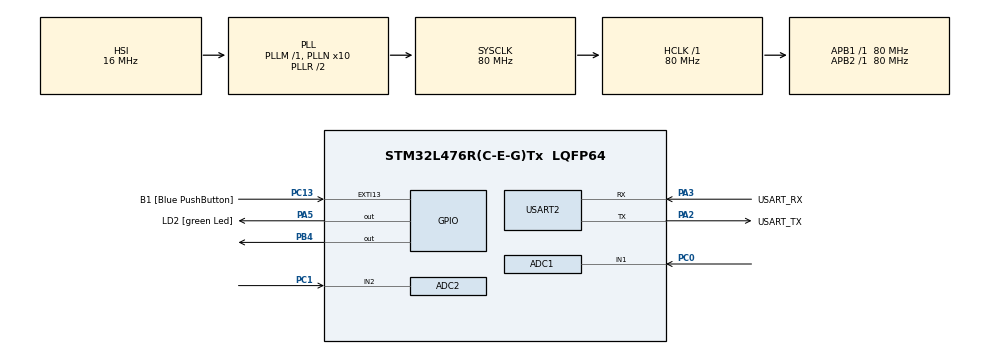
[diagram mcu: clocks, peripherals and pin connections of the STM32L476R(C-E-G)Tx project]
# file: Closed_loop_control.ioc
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ADC1.Channel-0\#ChannelRegularConversion=ADC_CHANNEL_1
ADC1.NbrOfConversionFlag=1
ADC1.OffsetNumber-0\#ChannelRegularConversion=ADC_OFFSET_NONE
ADC1.Rank-0\#ChannelRegularConversion=1
ADC1.SamplingTime-0\#ChannelRegularConversion=ADC_SAMPLETIME_2CYCLES_5
ADC1.master=1
ADC2.Channel-0\#ChannelRegularConversion=ADC_CHANNEL_2
ADC2.NbrOfConversionFlag=1
ADC2.OffsetNumber-0\#ChannelRegularConversion=ADC_OFFSET_NONE
ADC2.Rank-0\#ChannelRegularConversion=1
ADC2.SamplingTime-0\#ChannelRegularConversion=ADC_SAMPLETIME_2CYCLES_5
Dma.Request0=USART2_RX
Dma.Request1=USART2_TX
Dma.USART2_RX.0.Direction=DMA_PERIPH_TO_MEMORY
Dma.USART2_RX.0.Instance=DMA1_Channel6
Dma.USART2_RX.0.MemDataAlignment=DMA_MDATAALIGN_BYTE
Dma.USART2_RX.0.MemInc=DMA_MINC_ENABLE
Dma.USART2_RX.0.Mode=DMA_NORMAL
Dma.USART2_RX.0.PeriphDataAlignment=DMA_PDATAALIGN_BYTE
Dma.USART2_RX.0.PeriphInc=DMA_PINC_DISABLE
Dma.USART2_RX.0.Priority=DMA_PRIORITY_LOW
Dma.USART2_TX.1.Direction=DMA_MEMORY_TO_PERIPH
Dma.USART2_TX.1.Instance=DMA1_Channel7
Dma.USART2_TX.1.MemDataAlignment=DMA_MDATAALIGN_BYTE
Dma.USART2_TX.1.MemInc=DMA_MINC_ENABLE
Dma.USART2_TX.1.Mode=DMA_NORMAL
Dma.USART2_TX.1.PeriphDataAlignment=DMA_PDATAALIGN_BYTE
Dma.USART2_TX.1.PeriphInc=DMA_PINC_DISABLE
Dma.USART2_TX.1.Priority=DMA_PRIORITY_LOW
Mcu.Family=STM32L4
Mcu.Name=STM32L476R(C-E-G)Tx
Mcu.Package=LQFP64
NVIC.ADC1_2_IRQn=true\:0\:0\:false\:false\:true\:true\:true\:true
NVIC.DMA1_Channel6_IRQn=true\:0\:0\:false\:false\:true\:false\:true\:true
NVIC.DMA1_Channel7_IRQn=true\:0\:0\:false\:false\:true\:false\:true\:true
NVIC.PriorityGroup=NVIC_PRIORITYGROUP_4
NVIC.USART2_IRQn=true\:0\:0\:false\:false\:true\:true\:true\:true
PA13\ (JTMS-SWDIO).GPIO_Label=TMS
PA13\ (JTMS-SWDIO).Mode=Serial_Wire
PA13\ (JTMS-SWDIO).Signal=SYS_JTMS-SWDIO
PA14\ (JTCK-SWCLK).GPIO_Label=TCK
PA14\ (JTCK-SWCLK).Mode=Serial_Wire
PA14\ (JTCK-SWCLK).Signal=SYS_JTCK-SWCLK
PA2.GPIO_Label=USART_TX
PA2.GPIO_Mode=GPIO_MODE_AF_PP
PA2.GPIO_PuPd=GPIO_NOPULL
PA2.GPIO_Speed=GPIO_SPEED_FREQ_VERY_HIGH
PA2.Mode=Asynchronous
PA2.Signal=USART2_TX
PA3.GPIO_Label=USART_RX
PA3.GPIO_Mode=GPIO_MODE_AF_PP
PA3.GPIO_PuPd=GPIO_NOPULL
PA3.GPIO_Speed=GPIO_SPEED_FREQ_VERY_HIGH
PA3.Mode=Asynchronous
PA3.Signal=USART2_RX
PA5.GPIO_Label=LD2 [green Led]
PA5.GPIO_ModeDefaultOutputPP=GPIO_MODE_OUTPUT_PP
PA5.GPIO_PuPd=GPIO_NOPULL
PA5.GPIO_Speed=GPIO_SPEED_FREQ_LOW
PA5.Signal=GPIO_Output
PB3\ (JTDO-TRACESWO).GPIO_Label=SWO
PB3\ (JTDO-TRACESWO).Signal=SYS_JTDO-SWO
PB4\ (NJTRST).Signal=GPIO_Output
PC0.Signal=ADCx_IN1
PC1.Signal=ADCx_IN2
PC13.GPIO_Label=B1 [Blue PushButton]
PC13.GPIO_ModeDefaultEXTI=GPIO_MODE_IT_FALLING
PC13.GPIO_PuPd=GPIO_NOPULL
PC13.Signal=GPXTI13
PC14-OSC32_IN\ (PC14).Mode=LSE-External-Oscillator
PC14-OSC32_IN\ (PC14).Signal=RCC_OSC32_IN
PC15-OSC32_OUT\ (PC15).Mode=LSE-External-Oscillator
PC15-OSC32_OUT\ (PC15).Signal=RCC_OSC32_OUT
PH0-OSC_IN\ (PH0).Signal=RCC_OSC_IN
PH1-OSC_OUT\ (PH1).Signal=RCC_OSC_OUT
ProjectManager.HeapSize=0x200
ProjectManager.StackSize=0x400
ProjectManager.TargetToolchain=STM32CubeIDE
RCC.ADCFreq_Value=64000000
RCC.AHBFreq_Value=80000000
RCC.APB1Freq_Value=80000000
RCC.APB1TimFreq_Value=80000000
RCC.APB2Freq_Value=80000000
RCC.APB2TimFreq_Value=80000000
RCC.CortexFreq_Value=80000000
RCC.HCLKFreq_Value=80000000
RCC.HSE_VALUE=8000000
RCC.HSI_VALUE=16000000
RCC.MSI_VALUE=4000000
RCC.PLLN=10
RCC.PLLSourceVirtual=RCC_PLLSOURCE_HSI
RCC.PREFETCH_ENABLE=1
RCC.SYSCLKFreq_VALUE=80000000
RCC.SYSCLKSource=RCC_SYSCLKSOURCE_PLLCLK
RCC.USBFreq_Value=64000000
RCC.VCOOutputFreq_Value=160000000
SH.ADCx_IN1.0=ADC1_IN1,IN1-Single-Ended
SH.ADCx_IN2.0=ADC2_IN2,IN2-Single-Ended
USART2.VirtualMode-Asynchronous=VM_ASYNC
USART2.WordLength=WORDLENGTH_8B
board=NUCLEO-L476RG

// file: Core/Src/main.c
/* USER CODE BEGIN Header */
/**
  ******************************************************************************
  * @file           : main.c
  * @brief          : Main program body
  ******************************************************************************
  * @attention
  *
  * Copyright (c) 2023 STMicroelectronics.
  * All rights reserved.
  *
  * This software is licensed under terms that can be found in the LICENSE file
  * in the root directory of this software component.
  * If no LICENSE file comes with this software, it is provided AS-IS.
  *
  ******************************************************************************
  */
/* USER CODE END Header */
#include "main.h"

/* USER CODE BEGIN Includes */
#include <stdio.h>
#include <stdint.h>
#include <math.h>
/* USER CODE END Includes */

/* USER CODE BEGIN PD */

// Size UART messages

#define pi 3.14159

#define UART_RX_BUFFER_SIZE 16
#define UART_TX_BUFFER_SIZE 12

// Everything is given in SI base units

// Vehicle constants
#define WheelRadiusUnloaded 0.28
#define WheelRadiusLoaded 0.28		// The simulation doesn't distinguish between unloaded, loaded and effective radius
#define WheelRadiusEffective ((2*WheelRadiusUnloaded + WheelRadiusLoaded) / 3)

#define WheelBase 2.0
#define TrackWidth 1.0
#define GearRatio 7.0

// Limits on positive (accelerating) torque, parametrized by a limit on torque and another limit on power
#define MaxMotorTorque 2000 // For low angular velocity. Enter value in Nm
#define MaxMotorPower 3000 // For higher angular velocity. Enter value in W (note that this should be the effective power, not the electrical power going in)
#define AngVelThresholdAcc (MaxMotorPower / MaxMotorTorque) // Use first limit when below threshold and second limit when above

// Limits on negative (braking) torque. Don't know if this also depends on angular velocity, and can be parametrized the same way as the maximum positive? Someone plz HALP!
#define MaxBrakingTorque 300
#define MaxBrakingPower 450
#define AngVelThresholdBrake (MaxBrakingPower / MaxBrakingTorque)

// Yaw rate PI controller constants
#define Kp 700
#define Ki 180

// Anti-spin feature constants
#define A_lambda 0.06
#define B_lambda 20.0

// Misc constants
#define Ts 0.01 // Sampling time
#define MaxCMTorqueFraction 0.8 // Fraction of the maximum available torque to be used for common mode when at full throttle
#define MinVelLong 0.05 // Minimum longitudinal velocity to trigger anti-slip system. Avoids division by zero
/* USER CODE END PD */

ADC_HandleTypeDef hadc1;
ADC_HandleTypeDef hadc2;

UART_HandleTypeDef huart2;
DMA_HandleTypeDef hdma_usart2_rx;
DMA_HandleTypeDef hdma_usart2_tx;

void SystemClock_Config(void);
void PeriphCommonClock_Config(void);
static void MX_GPIO_Init(void);
static void MX_DMA_Init(void);
static void MX_USART2_UART_Init(void);
static void MX_ADC1_Init(void);
static void MX_ADC2_Init(void);
/* USER CODE BEGIN PFP */
void SIM_set_torques(uint8_t *Tx_data, float torqueLeft, float torqueRight);
void SIM_set_steering_angle(uint8_t *Tx_data, float steeringAngle);

void getMotorTorqueLimits();
void yawRateController();
void torqueVectoring();
void antiSpin();
void calculateMotorTorqueRef();

/* USER CODE END PFP */

/* USER CODE BEGIN 0 */

uint8_t UART_Rx_data[UART_RX_BUFFER_SIZE]; // UART receive data buffer.
uint8_t UART_Tx_data[UART_TX_BUFFER_SIZE]; // UART transive data buffer.

uint32_t adc1_value; // Values from potentiometer controlling the torque.
uint8_t adc1_valid = 0;
uint32_t adc2_value; // Values from potentiometer controlling the steering angle.
uint8_t adc2_valid = 0;

// Global variables (ikr...)

// Outputs from the FMU or sensors
float velLong = 0;
float steerAngleMeas = 0;
float yawRate = 0;
// The FMU outputs the angular velocities of the wheels, but for a practical test we would probably read it from the motors
float angVelMotorLeft = 0;
float angVelMotorRight = 0;
float angVelWheelLeft = 0;
float angVelWheelRight = 0;

float accInput = 0; // Accelerator input (Here I'm assuming a value between 0 and 1)

// Variables for the Yaw rate PI controller
float yawTorqueRef = 0;
float previousYawTorqueRef = 0;
float previousError = 0;
float torqueCM = 0;

// Outputs from the TV controller
float motorTorqueLeftRef = 0;
float motorTorqueRightRef = 0;

// Available motor torque limits
float maxMotorTorqueLeft = 2000;
float maxMotorTorqueRight = 2000;
float minMotorTorqueLeft = 0;
float minMotorTorqueRight = 0;

/*
 * HAL_UART_RxCpltCallback
 *
 * @brief Receives data from UART via interrupt.
 *
 * @param huart	UART Handle.
 * @retval none
 */
void HAL_UART_RxCpltCallback(UART_HandleTypeDef *huart)
{
	HAL_UART_Receive_IT(&huart2, UART_Rx_data, UART_RX_BUFFER_SIZE);
	HAL_UART_Transmit_IT(&huart2, UART_Tx_data, sizeof(UART_Tx_data));
}

void HAL_UART_TxCpltCallback(UART_HandleTypeDef *huart) {}

void HAL_ADC_ConvCpltCallback(ADC_HandleTypeDef *hadc)
{
	if (hadc == &hadc1)
	{
		adc1_value = HAL_ADC_GetValue(&hadc1);
		adc1_valid = 1;
	}

	if (hadc == &hadc2)
	{
		adc2_value = HAL_ADC_GetValue(&hadc2);
		adc2_valid = 1	;
	}
}
/* USER CODE END 0 */

int main(void)
{

  /* MCU Configuration--------------------------------------------------------*/

  /* Reset of all peripherals, Initializes the Flash interface and the Systick. */
  HAL_Init();

  /* Configure the system clock */
  SystemClock_Config();

/* Configure the peripherals common clocks */
  PeriphCommonClock_Config();

  /* Initialize all configured peripherals */
  MX_GPIO_Init();
  MX_DMA_Init();
  MX_USART2_UART_Init();
  MX_ADC1_Init();
  MX_ADC2_Init();
  /* USER CODE BEGIN 2 */
  float throttle;
  float const throttleMax = 1;
  float const throttleMin = 0.001;

  float const steeringAngleMax = pi/6;
  float const steeringAngleMin = -pi/6;

  HAL_UART_Receive_IT(&huart2, UART_Rx_data, UART_RX_BUFFER_SIZE);
  HAL_UART_Transmit_IT(&huart2, UART_Tx_data, sizeof(UART_Tx_data));
  HAL_ADC_Start_IT(&hadc1);
  HAL_ADC_Start_IT(&hadc2);

  /* USER CODE END 2 */

  /* Infinite loop */
  /* USER CODE BEGIN WHILE */
  while (1)
  {
	  if (adc1_valid == 1)
	  {
		  throttle = (float) adc1_value * (throttleMax - throttleMin)/4095 + throttleMin;
		  adc1_valid = 0;
		  HAL_ADC_Start_IT(&hadc1);
	  }

	  if (adc2_valid == 1)
	  {
		  steerAngleMeas = (float) adc2_value*(steeringAngleMax - steeringAngleMin)/4095 + steeringAngleMin;
		  SIM_set_steering_angle(UART_Tx_data, steerAngleMeas);

		  adc2_valid = 0;
		  HAL_ADC_Start_IT(&hadc2);

	  }

	  calculateMotorTorqueRef();
	  SIM_set_torques(UART_Tx_data, motorTorqueLeftRef, motorTorqueRightRef);

	  HAL_GPIO_TogglePin(GPIOB, GPIO_PIN_4);
	  HAL_Delay(10);
    /* USER CODE END WHILE */

  }
}

void SystemClock_Config(void)
{
  RCC_OscInitTypeDef RCC_OscInitStruct = {0};
  RCC_ClkInitTypeDef RCC_ClkInitStruct = {0};

  /** Configure the main internal regulator output voltage
  */
  if (HAL_PWREx_ControlVoltageScaling(PWR_REGULATOR_VOLTAGE_SCALE1) != HAL_OK)
  {
    Error_Handler();
  }

  /** Initializes the RCC Oscillators according to the specified parameters
  * in the RCC_OscInitTypeDef structure.
  */
  RCC_OscInitStruct.OscillatorType = RCC_OSCILLATORTYPE_HSI;
  RCC_OscInitStruct.HSIState = RCC_HSI_ON;
  RCC_OscInitStruct.HSICalibrationValue = RCC_HSICALIBRATION_DEFAULT;
  RCC_OscInitStruct.PLL.PLLState = RCC_PLL_ON;
  RCC_OscInitStruct.PLL.PLLSource = RCC_PLLSOURCE_HSI;
  RCC_OscInitStruct.PLL.PLLM = 1;
  RCC_OscInitStruct.PLL.PLLN = 10;
  RCC_OscInitStruct.PLL.PLLP = RCC_PLLP_DIV7;
  RCC_OscInitStruct.PLL.PLLQ = RCC_PLLQ_DIV2;
  RCC_OscInitStruct.PLL.PLLR = RCC_PLLR_DIV2;
  if (HAL_RCC_OscConfig(&RCC_OscInitStruct) != HAL_OK)
  {
    Error_Handler();
  }

  /** Initializes the CPU, AHB and APB buses clocks
  */
  RCC_ClkInitStruct.ClockType = RCC_CLOCKTYPE_HCLK|RCC_CLOCKTYPE_SYSCLK
                              |RCC_CLOCKTYPE_PCLK1|RCC_CLOCKTYPE_PCLK2;
  RCC_ClkInitStruct.SYSCLKSource = RCC_SYSCLKSOURCE_PLLCLK;
  RCC_ClkInitStruct.AHBCLKDivider = RCC_SYSCLK_DIV1;
  RCC_ClkInitStruct.APB1CLKDivider = RCC_HCLK_DIV1;
  RCC_ClkInitStruct.APB2CLKDivider = RCC_HCLK_DIV1;

  if (HAL_RCC_ClockConfig(&RCC_ClkInitStruct, FLASH_LATENCY_4) != HAL_OK)
  {
    Error_Handler();
  }
}

void PeriphCommonClock_Config(void)
{
  RCC_PeriphCLKInitTypeDef PeriphClkInit = {0};

  /** Initializes the peripherals clock
  */
  PeriphClkInit.PeriphClockSelection = RCC_PERIPHCLK_ADC;
  PeriphClkInit.AdcClockSelection = RCC_ADCCLKSOURCE_PLLSAI1;
  PeriphClkInit.PLLSAI1.PLLSAI1Source = RCC_PLLSOURCE_HSI;
  PeriphClkInit.PLLSAI1.PLLSAI1M = 1;
  PeriphClkInit.PLLSAI1.PLLSAI1N = 8;
  PeriphClkInit.PLLSAI1.PLLSAI1P = RCC_PLLP_DIV7;
  PeriphClkInit.PLLSAI1.PLLSAI1Q = RCC_PLLQ_DIV2;
  PeriphClkInit.PLLSAI1.PLLSAI1R = RCC_PLLR_DIV2;
  PeriphClkInit.PLLSAI1.PLLSAI1ClockOut = RCC_PLLSAI1_ADC1CLK;
  if (HAL_RCCEx_PeriphCLKConfig(&PeriphClkInit) != HAL_OK)
  {
    Error_Handler();
  }
}

static void MX_ADC1_Init(void)
{

  ADC_MultiModeTypeDef multimode = {0};
  ADC_ChannelConfTypeDef sConfig = {0};

  /** Common config
  */
  hadc1.Instance = ADC1;
  hadc1.Init.ClockPrescaler = ADC_CLOCK_ASYNC_DIV1;
  hadc1.Init.Resolution = ADC_RESOLUTION_12B;
  hadc1.Init.DataAlign = ADC_DATAALIGN_RIGHT;
  hadc1.Init.ScanConvMode = ADC_SCAN_DISABLE;
  hadc1.Init.EOCSelection = ADC_EOC_SINGLE_CONV;
  hadc1.Init.LowPowerAutoWait = DISABLE;
  hadc1.Init.ContinuousConvMode = DISABLE;
  hadc1.Init.NbrOfConversion = 1;
  hadc1.Init.DiscontinuousConvMode = DISABLE;
  hadc1.Init.ExternalTrigConv = ADC_SOFTWARE_START;
  hadc1.Init.ExternalTrigConvEdge = ADC_EXTERNALTRIGCONVEDGE_NONE;
  hadc1.Init.DMAContinuousRequests = DISABLE;
  hadc1.Init.Overrun = ADC_OVR_DATA_PRESERVED;
  hadc1.Init.OversamplingMode = DISABLE;
  if (HAL_ADC_Init(&hadc1) != HAL_OK)
  {
    Error_Handler();
  }

  /** Configure the ADC multi-mode
  */
  multimode.Mode = ADC_MODE_INDEPENDENT;
  if (HAL_ADCEx_MultiModeConfigChannel(&hadc1, &multimode) != HAL_OK)
  {
    Error_Handler();
  }

  /** Configure Regular Channel
  */
  sConfig.Channel = ADC_CHANNEL_1;
  sConfig.Rank = ADC_REGULAR_RANK_1;
  sConfig.SamplingTime = ADC_SAMPLETIME_2CYCLES_5;
  sConfig.SingleDiff = ADC_SINGLE_ENDED;
  sConfig.OffsetNumber = ADC_OFFSET_NONE;
  sConfig.Offset = 0;
  if (HAL_ADC_ConfigChannel(&hadc1, &sConfig) != HAL_OK)
  {
    Error_Handler();
  }

}

static void MX_ADC2_Init(void)
{

  ADC_ChannelConfTypeDef sConfig = {0};

  /** Common config
  */
  hadc2.Instance = ADC2;
  hadc2.Init.ClockPrescaler = ADC_CLOCK_ASYNC_DIV1;
  hadc2.Init.Resolution = ADC_RESOLUTION_12B;
  hadc2.Init.DataAlign = ADC_DATAALIGN_RIGHT;
  hadc2.Init.ScanConvMode = ADC_SCAN_DISABLE;
  hadc2.Init.EOCSelection = ADC_EOC_SINGLE_CONV;
  hadc2.Init.LowPowerAutoWait = DISABLE;
  hadc2.Init.ContinuousConvMode = DISABLE;
  hadc2.Init.NbrOfConversion = 1;
  hadc2.Init.DiscontinuousConvMode = DISABLE;
  hadc2.Init.ExternalTrigConv = ADC_SOFTWARE_START;
  hadc2.Init.ExternalTrigConvEdge = ADC_EXTERNALTRIGCONVEDGE_NONE;
  hadc2.Init.DMAContinuousRequests = DISABLE;
  hadc2.Init.Overrun = ADC_OVR_DATA_PRESERVED;
  hadc2.Init.OversamplingMode = DISABLE;
  if (HAL_ADC_Init(&hadc2) != HAL_OK)
  {
    Error_Handler();
  }

  /** Configure Regular Channel
  */
  sConfig.Channel = ADC_CHANNEL_2;
  sConfig.Rank = ADC_REGULAR_RANK_1;
  sConfig.SamplingTime = ADC_SAMPLETIME_2CYCLES_5;
  sConfig.SingleDiff = ADC_SINGLE_ENDED;
  sConfig.OffsetNumber = ADC_OFFSET_NONE;
  sConfig.Offset = 0;
  if (HAL_ADC_ConfigChannel(&hadc2, &sConfig) != HAL_OK)
  {
    Error_Handler();
  }

}

static void MX_USART2_UART_Init(void)
{

  huart2.Instance = USART2;
  huart2.Init.BaudRate = 115200;
  huart2.Init.WordLength = UART_WORDLENGTH_8B;
  huart2.Init.StopBits = UART_STOPBITS_1;
  huart2.Init.Parity = UART_PARITY_NONE;
  huart2.Init.Mode = UART_MODE_TX_RX;
  huart2.Init.HwFlowCtl = UART_HWCONTROL_NONE;
  huart2.Init.OverSampling = UART_OVERSAMPLING_16;
  huart2.Init.OneBitSampling = UART_ONE_BIT_SAMPLE_DISABLE;
  huart2.AdvancedInit.AdvFeatureInit = UART_ADVFEATURE_NO_INIT;
  if (HAL_UART_Init(&huart2) != HAL_OK)
  {
    Error_Handler();
  }

}

static void MX_DMA_Init(void)
{

  /* DMA controller clock enable */
  __HAL_RCC_DMA1_CLK_ENABLE();

  /* DMA interrupt init */
  /* DMA1_Channel6_IRQn interrupt configuration */
  HAL_NVIC_SetPriority(DMA1_Channel6_IRQn, 0, 0);
  HAL_NVIC_EnableIRQ(DMA1_Channel6_IRQn);
  /* DMA1_Channel7_IRQn interrupt configuration */
  HAL_NVIC_SetPriority(DMA1_Channel7_IRQn, 0, 0);
  HAL_NVIC_EnableIRQ(DMA1_Channel7_IRQn);

}

static void MX_GPIO_Init(void)
{
  GPIO_InitTypeDef GPIO_InitStruct = {0};

  /* GPIO Ports Clock Enable */
  __HAL_RCC_GPIOC_CLK_ENABLE();
  __HAL_RCC_GPIOH_CLK_ENABLE();
  __HAL_RCC_GPIOA_CLK_ENABLE();
  __HAL_RCC_GPIOB_CLK_ENABLE();

  /*Configure GPIO pin Output Level */
  HAL_GPIO_WritePin(LD2_GPIO_Port, LD2_Pin, GPIO_PIN_RESET);

  /*Configure GPIO pin Output Level */
  HAL_GPIO_WritePin(GPIOB, GPIO_PIN_4, GPIO_PIN_RESET);

  /*Configure GPIO pin : B1_Pin */
  GPIO_InitStruct.Pin = B1_Pin;
  GPIO_InitStruct.Mode = GPIO_MODE_IT_FALLING;
  GPIO_InitStruct.Pull = GPIO_NOPULL;
  HAL_GPIO_Init(B1_GPIO_Port, &GPIO_InitStruct);

  /*Configure GPIO pin : LD2_Pin */
  GPIO_InitStruct.Pin = LD2_Pin;
  GPIO_InitStruct.Mode = GPIO_MODE_OUTPUT_PP;
  GPIO_InitStruct.Pull = GPIO_NOPULL;
  GPIO_InitStruct.Speed = GPIO_SPEED_FREQ_LOW;
  HAL_GPIO_Init(LD2_GPIO_Port, &GPIO_InitStruct);

  /*Configure GPIO pin : PB4 */
  GPIO_InitStruct.Pin = GPIO_PIN_4;
  GPIO_InitStruct.Mode = GPIO_MODE_OUTPUT_PP;
  GPIO_InitStruct.Pull = GPIO_NOPULL;
  GPIO_InitStruct.Speed = GPIO_SPEED_FREQ_LOW;
  HAL_GPIO_Init(GPIOB, &GPIO_InitStruct);

}

/* USER CODE BEGIN 4 */

/*
 * Sim_set_torques
 *
 * @brief	Putes the requested torques into UART Tx buffer.
 *
 * @param 	uint8_t *Tx_data UART transmission buffer.
 * @param	float torqueLeft Reference torque for left wheel.
 * @param	float torqueRight Reference torque for right wheel.
 *
 * 	@retval None
 */
void SIM_set_torques(uint8_t *Tx_data, float torqueLeft, float torqueRight)
{
	// bitmask for extracting 1 byte at the time
	uint8_t bitmask = 0xff;

	// Turns the bits to uint32_t.
	uint32_t tempLeft = * (uint32_t *) &torqueLeft;
	uint32_t tempRight = * (uint32_t *) &torqueRight;

    // Puts the values into temp buffer.
	for (int i = 0; i < 4; i++)
	{
		*(Tx_data + i) 		= (uint8_t) (tempLeft >> (24 - 8*i)) & bitmask;
		*(Tx_data + 4 + i) 	= (uint8_t) (tempRight >> (24 - 8*i)) & bitmask;
	}

}

/*
 * SIM_set_steering_angle
 *
 * @brief	Putes the requested torques into UART Tx buffer.
 *
 * @param 	uint8_t *Tx_data UART transmission buffer.
 * @param	float steeringAngle steering angle.
 *
 * 	@retval None
 */
void SIM_set_steering_angle(uint8_t *Tx_data, float steeringAngle)
{

	// bitmask for extracting 1 byte at the time
	uint8_t bitmask = 0xff;

	// Turns the bits to uint32_t.
	uint32_t tempSteer = * (uint32_t *) &steeringAngle;

	for (int i = 0; i < 4; i++)
	{
		*(Tx_data + 8 + i) 	= (uint8_t) (tempSteer >> (24 - 8*i)) & bitmask;
	}

}

void read_UART(uint8_t* Rx_data)
{
	uint8_t tempBuffer[4];

	for (int i = 0; i < 4; i++)
	{
		tempBuffer[i] = *(Rx_data + i);
	}
	yawRate = * (float *) &tempBuffer;

	for (int i = 0; i < 4; i++)
	{
		tempBuffer[i] = *(Rx_data + i + 4);
	}
	velLong = * (float *) &tempBuffer;

	for (int i = 0; i < 4; i++)
	{
		tempBuffer[i] = *(Rx_data + i + 8);
	}
	angVelWheelLeft = * (float *) &tempBuffer;

	for (int i = 0; i < 4; i++)
	{
		tempBuffer[i] = *(Rx_data + i + 12);
	}
	angVelWheelRight = * (float *) &tempBuffer;

}

void getMotorTorqueLimits()
{
	// Change this function if there is a better method to estimate the limits, especially the lower limits (limits on braking torque)

	// Limits on positive (accelerating) torque
	if (angVelMotorLeft < AngVelThresholdAcc){
		maxMotorTorqueLeft = MaxMotorTorque;
	}
	else {
		maxMotorTorqueLeft = MaxMotorPower / angVelMotorLeft;
	}

	if (angVelMotorRight < AngVelThresholdAcc){
		maxMotorTorqueRight = MaxMotorTorque;
	}
	else {
		maxMotorTorqueRight = MaxMotorPower / angVelMotorRight;
	}

	// Limits on negative (braking) torque
	if (angVelMotorLeft < AngVelThresholdBrake){
		minMotorTorqueLeft = -MaxBrakingTorque;
	}
	else {
		minMotorTorqueLeft = -MaxBrakingPower / angVelMotorLeft;
	}
	if (angVelMotorRight < AngVelThresholdBrake){
		minMotorTorqueRight = -MaxBrakingTorque;
	}
	else {
		minMotorTorqueRight = -MaxBrakingPower / angVelMotorRight;
	}
}

void yawRateController()
{
	float yawRateRef = velLong * tan(steerAngleMeas) / WheelBase;
	float error = yawTorqueRef - yawRate;

	// PI controller in incremental form (aka "velocity form")
	yawTorqueRef = previousYawTorqueRef + Kp*(error - previousError) + Ki*Ts*error;
	previousError = error;
}

void torqueVectoring()
{
	// Determine differential mode torque
	float torqueDM = WheelRadiusLoaded * yawTorqueRef / (GearRatio * TrackWidth);

	motorTorqueLeftRef = torqueCM + torqueDM; // NOTE: This assumes that the yaw angle is defined in a clockwise sense; otherwise, flip the signs
	motorTorqueRightRef = torqueCM - torqueDM;

	// Check for motor torque limits and saturate the signals
	motorTorqueLeftRef = fmin(maxMotorTorqueLeft, fmax(motorTorqueLeftRef, minMotorTorqueLeft));
	motorTorqueRightRef = fmin(maxMotorTorqueRight, fmax(motorTorqueRightRef, minMotorTorqueRight));

	// Report the saturated value back to the yaw rate PI as the previous output, which should prevent integrator windup since it's in incremental form
	float saturatedDM = (motorTorqueLeftRef - motorTorqueRightRef) / 2; // Again, flip the signs here if using CCW yaw
	previousYawTorqueRef = saturatedDM * GearRatio * TrackWidth / WheelRadiusLoaded;
}

void antiSpin()
{
	// This code aims to limit the slip ratios below about 0.1 in absolute value to prevent wheel spin and loss of grip

	if (velLong > MinVelLong){
		float slipRatioLeft = (angVelWheelLeft * WheelRadiusEffective - velLong) / velLong;
		float slipRatioRight = (angVelWheelRight * WheelRadiusEffective - velLong) / velLong;

		float limitFractionLeft = exp(-B_lambda * (fabs(slipRatioLeft) - A_lambda));
		limitFractionLeft = fmin(limitFractionLeft, 1);
		float limitFractionRight = exp(-B_lambda * (fabs(slipRatioRight) - A_lambda));
		limitFractionRight = fmin(limitFractionRight, 1);

		motorTorqueLeftRef = limitFractionLeft * motorTorqueLeftRef;
		motorTorqueRightRef = limitFractionRight * motorTorqueRightRef;
	}

	// NOTE: In principle we could recalculate previousYawTorqueRef here instead of in the torqueVectoring step,
	// but at least in the simulations it seems fine to keep integrating when the anti-spin kicks in.
	// Change this if necessary, but be aware it could cause unwanted behaviour since the anti-spin can limit the output quite aggressively.

	// Update: New simulation indicates that it might be benificial to do the recalculation here after all. Best to try both ways.
	// To change, move the last two lines from torqueVectoring() here.
}

void calculateMotorTorqueRef()
{
	// Calculates reference torque values to send to the motor controller and stores them in the global variables motorTorqueLeftRef and motorTorqueRightRef

	angVelMotorLeft = angVelWheelLeft * GearRatio;
	angVelMotorRight = angVelWheelRight * GearRatio;
	/* Replace the above code with the following if we're measuring motor speeds instead of wheel speeds
		angVelWheelLeft = angVelMotorLeft / GearRatio;
		angVelWheelRight = angVelMotorRight / GearRatio;
	*/

	//getMotorTorqueLimits();

	// Determine common mode torque
	float torqueCM = accInput * MaxCMTorqueFraction * fmin(maxMotorTorqueLeft, maxMotorTorqueRight);

	yawRateController();
	torqueVectoring();
	antiSpin();
}
/* USER CODE END 4 */

void Error_Handler(void)
{
  __disable_irq();
  while (1)
  {
  }
}
